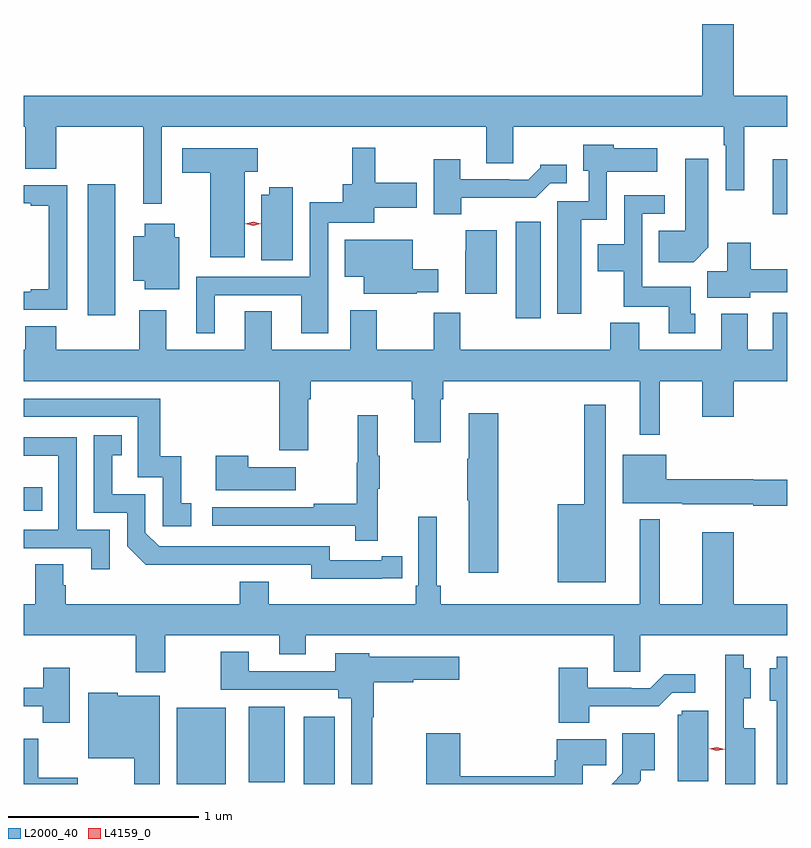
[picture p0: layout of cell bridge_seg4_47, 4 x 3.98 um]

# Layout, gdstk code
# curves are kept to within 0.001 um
import gdstk
lib = gdstk.Library(unit=1e-6, precision=1e-09)
def R(c, l, rs):  # rectangles x0, y0, x1, y1
    for r in rs: c.add(gdstk.rectangle(r[:2], r[2:], *l))
def P(c, l, *ps):  # polygons
    for p in ps: c.add(gdstk.Polygon(p, *l))
L2000_40 = (2000, 40)
L4159_0 = (4159, 0)

bridge_seg4_47 = lib.new_cell('bridge_seg4_47')
R(bridge_seg4_47, L2000_40, [(665.75,804.033,666.007,804.433), (666.416,804.033,666.577,804.385), (666.128,804.041,666.316,804.439), (664.949,805.464,665.045,805.587), (667.526,806.472,667.657,806.98), (665.285,806.49,665.428,807.175), (668.873,807.017,668.949,807.307)])
P(bridge_seg4_47, L2000_40, [(665.673,807.476),(667.373,807.476),(667.373,807.286),(667.513,807.286),(667.513,807.476),(668.616,807.476),(668.616,807.38),(668.628,807.38),(668.628,807.144),(668.725,807.144),(668.725,807.476),(668.949,807.476),(668.949,807.64),(668.668,807.64),(668.668,808.015),(668.504,808.015),(668.504,807.64),(664.949,807.64),(664.949,807.476),(664.957,807.476),(664.957,807.256),(665.118,807.256),(665.118,807.476),(665.576,807.476),(665.576,807.072),(665.673,807.072)],
  [(667.87,806.99),(668.004,806.99),(668.004,807.242),(668.269,807.242),(668.269,807.364),(668.04,807.364),(668.04,807.382),(667.88,807.382),(667.88,807.246),(667.908,807.246),(667.908,807.087),(667.745,807.087),(667.745,806.496),(667.87,806.496)],
  [(665.95,806.595),(666.404,806.595),(666.404,806.394),(666.543,806.394),(666.543,806.973),(666.786,806.973),(666.786,807.053),(667.009,807.053),(667.009,807.183),(666.79,807.183),(666.79,807.367),(666.669,807.367),(666.669,807.175),(666.62,807.175),(666.62,807.082),(666.447,807.082),(666.447,806.691),(665.852,806.691),(665.852,806.394),(665.95,806.394)],
  [(666.106,807.242),(666.175,807.242),(666.175,807.364),(665.778,807.364),(665.778,807.235),(665.927,807.235),(665.927,806.792),(666.106,806.792)],
  [(668.536,806.846),(668.536,807.31),(668.414,807.31),(668.414,806.932),(668.275,806.932),(668.275,806.768),(668.458,806.768)],
  [(667.24,807.104),(667.631,807.104),(667.707,807.18),(667.795,807.18),(667.795,807.277),(667.656,807.277),(667.656,807.262),(667.592,807.198),(667.493,807.198),(667.493,807.201),(667.237,807.201),(667.237,807.307),(667.097,807.307),(667.097,807.017),(667.24,807.017)],
  [(665.178,807.171),(664.949,807.171),(664.949,807.075),(664.985,807.075),(664.985,807.063),(665.081,807.063),(665.081,806.626),(664.985,806.626),(664.985,806.613),(664.949,806.613),(664.949,806.517),(665.178,806.517)],
  [(666.358,807.16),(666.236,807.16),(666.236,807.121),(666.194,807.121),(666.194,806.776),(666.358,806.776)],
  [(668.467,806.496),(668.443,806.496),(668.443,806.638),(668.19,806.638),(668.19,807.021),(668.308,807.021),(668.308,807.117),(668.094,807.117),(668.094,806.86),(667.955,806.86),(667.955,806.72),(668.092,806.72),(668.092,806.534),(668.327,806.534),(668.327,806.394),(668.467,806.394)],
  [(665.764,806.898),(665.74,806.898),(665.74,806.968),(665.582,806.968),(665.582,806.902),(665.522,806.902),(665.522,806.669),(665.582,806.669),(665.582,806.624),(665.764,806.624)],
  [(667.426,806.935),(667.264,806.935),(667.264,806.828),(667.262,806.828),(667.262,806.601),(667.426,806.601)],
  [(667.007,806.609),(667.12,806.609),(667.12,806.731),(666.988,806.731),(666.988,806.884),(666.632,806.884),(666.632,806.69),(666.731,806.69),(666.731,806.602),(667.007,806.602)],
  [(668.754,806.609),(668.949,806.609),(668.949,806.731),(668.758,806.731),(668.758,806.869),(668.636,806.869),(668.636,806.72),(668.531,806.72),(668.531,806.582),(668.754,806.582)],
  [(666.439,806.048),(666.452,806.048),(666.452,806.144),(666.983,806.144),(666.983,806.048),(666.995,806.048),(666.995,805.824),(667.135,805.824),(667.135,806.048),(667.148,806.048),(667.148,806.144),(668.177,806.144),(668.177,805.863),(668.281,805.863),(668.281,806.144),(668.504,806.144),(668.504,805.956),(668.668,805.956),(668.668,806.144),(668.949,806.144),(668.949,806.503),(668.873,806.503),(668.873,806.308),(668.743,806.308),(668.743,806.497),(668.603,806.497),(668.603,806.308),(668.173,806.308),(668.173,806.449),(668.021,806.449),(668.021,806.308),(667.237,806.308),(667.237,806.503),(667.097,806.503),(667.097,806.308),(666.799,806.308),(666.799,806.515),(666.659,806.515),(666.659,806.308),(666.247,806.308),(666.247,806.51),(666.107,806.51),(666.107,806.308),(665.695,806.308),(665.695,806.515),(665.555,806.515),(665.555,806.308),(665.118,806.308),(665.118,806.432),(664.957,806.432),(664.957,806.308),(664.949,806.308),(664.949,806.144),(666.287,806.144),(666.287,805.782),(666.439,805.782)],
  [(665.827,805.503),(665.774,805.503),(665.774,805.75),(665.663,805.75),(665.663,806.052),(664.949,806.052),(664.949,805.956),(665.547,805.956),(665.547,805.641),(665.676,805.641),(665.676,805.383),(665.827,805.383)],
  [(667.999,806.02),(667.885,806.02),(667.885,805.498),(667.748,805.498),(667.748,805.091),(667.999,805.091)],
  [(667.434,805.975),(667.28,805.975),(667.28,805.736),(667.273,805.736),(667.273,805.519),(667.28,805.519),(667.28,805.14),(667.434,805.14)],
  [(666.803,805.579),(666.814,805.579),(666.814,805.753),(666.803,805.753),(666.803,805.966),(666.7,805.966),(666.7,805.716),(666.693,805.716),(666.693,805.502),(666.469,805.502),(666.469,805.482),(665.937,805.482),(665.937,805.386),(666.685,805.386),(666.685,805.308),(666.803,805.308)],
  [(666.824,805.11),(666.932,805.11),(666.932,805.226),(666.824,805.226),(666.824,805.206),(666.552,805.206),(666.552,805.278),(665.658,805.278),(665.586,805.35),(665.586,805.551),(665.413,805.551),(665.413,805.755),(665.462,805.755),(665.462,805.861),(665.316,805.861),(665.316,805.455),(665.49,805.455),(665.49,805.278),(665.588,805.181),(666.456,805.182),(666.456,805.109)],
  [(665.4,805.365),(665.226,805.365),(665.226,805.851),(664.949,805.851),(664.949,805.754),(665.13,805.754),(665.13,805.365),(664.949,805.365),(664.949,805.269),(665.303,805.269),(665.303,805.158),(665.4,805.158)],
  [(668.949,805.628),(668.772,805.628),(668.772,805.629),(668.314,805.629),(668.314,805.759),(668.087,805.759),(668.087,805.505),(668.4,805.505),(668.4,805.499),(668.772,805.499),(668.772,805.492),(668.949,805.492)],
  [(666.373,805.693),(666.125,805.693),(666.125,805.753),(665.954,805.753),(665.954,805.571),(666.373,805.571)],
  [(665.691,804.812),(666.287,804.812),(666.287,804.713),(666.427,804.713),(666.427,804.812),(668.039,804.812),(668.039,804.622),(668.178,804.622),(668.178,804.812),(668.949,804.812),(668.949,804.976),(668.668,804.976),(668.668,805.351),(668.504,805.351),(668.504,804.976),(668.281,804.976),(668.281,805.42),(668.177,805.42),(668.177,804.976),(667.133,804.976),(667.133,805.072),(667.114,805.072),(667.114,805.432),(667.017,805.432),(667.017,805.072),(667.004,805.072),(667.004,804.976),(666.232,804.976),(666.232,805.093),(666.08,805.093),(666.08,804.976),(665.168,804.976),(665.168,805.074),(665.155,805.074),(665.155,805.184),(665.008,805.184),(665.008,804.976),(664.949,804.976),(664.949,804.812),(665.536,804.812),(665.536,804.618),(665.691,804.618)],
  [(666.775,804.382),(666.782,804.382),(666.782,804.566),(666.989,804.566),(666.989,804.578),(667.231,804.578),(667.231,804.7),(666.759,804.7),(666.759,804.718),(666.581,804.718),(666.581,804.624),(666.127,804.624),(666.127,804.727),(665.98,804.727),(665.98,804.528),(666.596,804.528),(666.596,804.482),(666.666,804.482),(666.666,804.033),(666.775,804.033)],
  [(668.782,804.325),(668.722,804.325),(668.722,804.482),(668.758,804.482),(668.758,804.64),(668.722,804.64),(668.722,804.709),(668.624,804.709),(668.624,804.486),(668.625,804.486),(668.625,804.221),(668.624,804.221),(668.624,804.033),(668.782,804.033)],
  [(668.949,804.7),(668.894,804.7),(668.894,804.64),(668.858,804.64),(668.858,804.47),(668.895,804.47),(668.895,804.033),(668.949,804.033)],
  [(665.191,804.643),(665.051,804.643),(665.051,804.537),(664.949,804.537),(664.949,804.44),(665.049,804.44),(665.049,804.353),(665.191,804.353)],
  [(667.911,804.44),(668.275,804.44),(668.346,804.51),(668.467,804.51),(668.467,804.607),(668.305,804.607),(668.232,804.534),(668.132,804.534),(668.132,804.537),(667.903,804.537),(667.903,804.643),(667.751,804.643),(667.751,804.353),(667.911,804.353)],
  [(665.662,804.496),(665.442,804.496),(665.442,804.511),(665.288,804.511),(665.288,804.167),(665.528,804.167),(665.528,804.033),(665.662,804.033)],
  [(668.536,804.417),(668.397,804.417),(668.397,804.396),(668.375,804.396),(668.375,804.048),(668.536,804.048)],
  [(668.182,804.049),(668.182,804.104),(668.254,804.104),(668.254,804.298),(668.085,804.298),(668.085,804.089),(668.029,804.033),(668.166,804.033)],
  [(667.879,804.13),(668,804.13),(668,804.268),(667.742,804.268),(667.742,804.158),(667.73,804.158),(667.73,804.074),(667.235,804.074),(667.235,804.298),(667.057,804.298),(667.057,804.033),(667.879,804.033)],
  [(665.233,804.067),(665.024,804.067),(665.024,804.271),(664.949,804.271),(664.949,804.033),(665.233,804.033)])
P(bridge_seg4_47, L4159_0, [(668.58,804.206),(668.54,804.217),(668.539,804.217),(668.54,804.217),(668.581,804.226),(668.621,804.215),(668.622,804.215),(668.621,804.215)],
  [(666.15,806.959),(666.11,806.969),(666.11,806.969),(666.11,806.969),(666.15,806.979),(666.19,806.969),(666.19,806.969),(666.19,806.969)])

lib.write_gds('bridge_seg4_47.gds')
